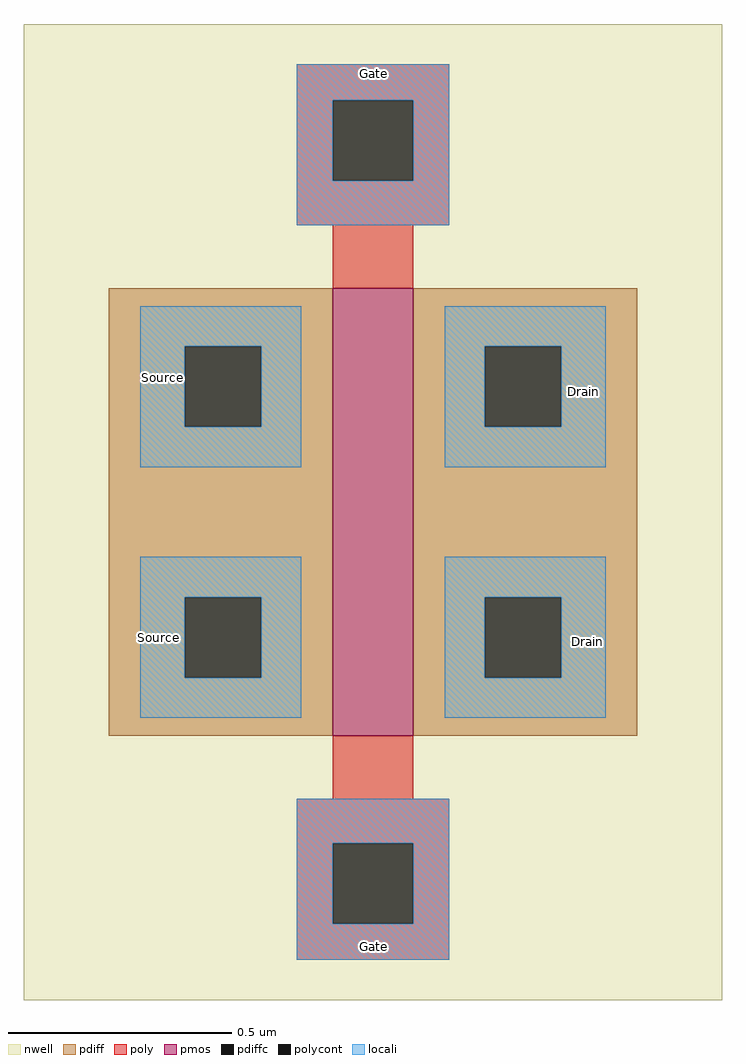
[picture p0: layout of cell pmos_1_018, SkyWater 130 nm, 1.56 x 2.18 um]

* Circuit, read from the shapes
.subckt pmos_1_018 Gate Source Drain
XM1 Drain Gate Source n1 sky130_fd_pr__pfet_01v8 w=1 l=0.18
.ends

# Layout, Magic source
magic
tech sky130A
<< nwell >>
rect -16 83 140 301
<< pmos >>
rect 53 142 71 242
<< pdiff >>
rect 3 229 53 242
rect 3 211 20 229
rect 37 211 53 229
rect 3 173 53 211
rect 3 155 20 173
rect 37 155 53 173
rect 3 142 53 155
rect 71 229 121 242
rect 71 211 87 229
rect 104 211 121 229
rect 71 173 121 211
rect 71 155 87 173
rect 104 155 121 173
rect 71 142 121 155
<< pdiffc >>
rect 20 211 37 229
rect 20 155 37 173
rect 87 211 104 229
rect 87 155 104 173
<< poly >>
rect 45 284 79 292
rect 45 266 53 284
rect 71 266 79 284
rect 45 256 79 266
rect 53 242 71 256
rect 53 128 71 142
rect 45 118 79 128
rect 45 100 53 118
rect 71 100 79 118
rect 45 92 79 100
<< polycont >>
rect 53 266 71 284
rect 53 100 71 118
<< locali >>
rect 45 284 79 292
rect 45 266 53 284
rect 71 266 79 284
rect 45 256 79 266
rect 10 229 46 238
rect 10 211 20 229
rect 37 211 46 229
rect 10 202 46 211
rect 78 229 114 238
rect 78 211 87 229
rect 104 211 114 229
rect 78 202 114 211
rect 10 173 46 182
rect 10 155 20 173
rect 37 155 46 173
rect 10 146 46 155
rect 78 173 114 182
rect 78 155 87 173
rect 104 155 114 173
rect 78 146 114 155
rect 45 118 79 128
rect 45 100 53 118
rect 71 100 79 118
rect 45 92 79 100
<< labels >>
rlabel locali 62 290 62 290 1 Gate
port 1 n
rlabel locali 62 95 62 95 1 Gate
port 2 n
rlabel locali 15 222 15 222 1 Source
port 3 n
rlabel locali 14 164 14 164 1 Source
port 4 n
rlabel locali 109 219 109 219 1 Drain
port 5 n
rlabel locali 110 163 110 163 1 Drain
port 6 n
<< end >>
